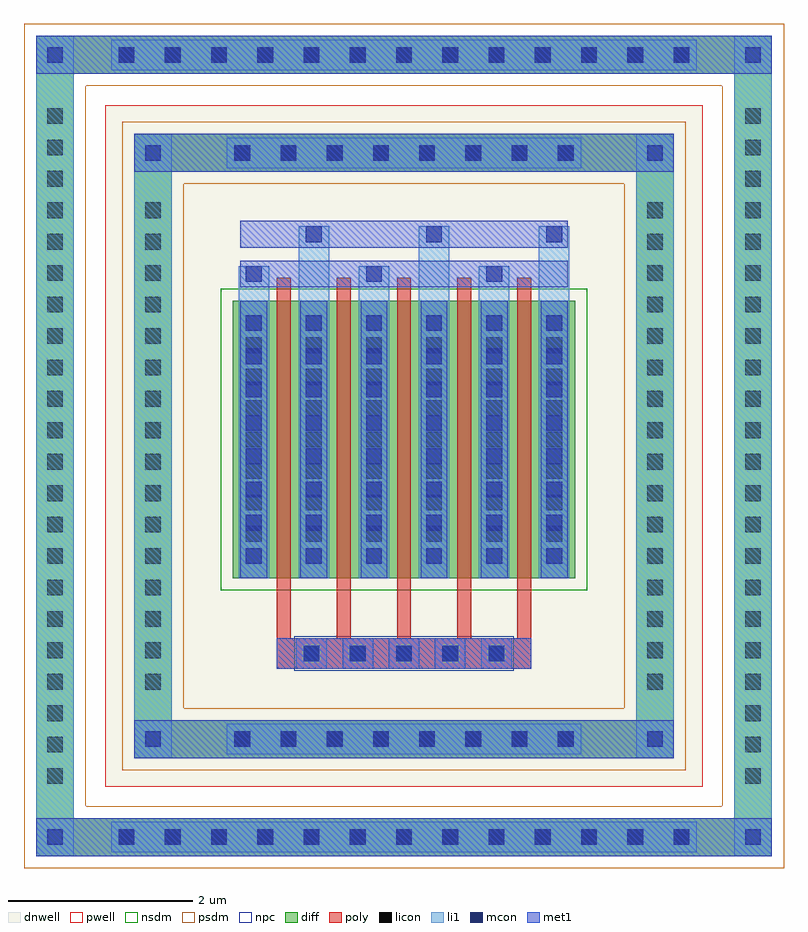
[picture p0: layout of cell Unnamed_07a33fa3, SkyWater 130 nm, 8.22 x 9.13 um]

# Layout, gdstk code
import gdstk
lib = gdstk.Library(unit=1e-6, precision=5e-09)
def R(c, l, rs):  # rectangles x0, y0, x1, y1
    for r in rs: c.add(gdstk.rectangle(r[:2], r[2:], *l))
def A(c, l, x, y, w, h, nx, ny, dx, dy):  # array of equal rectangles
    R(c, l, [(x+i*dx, y+j*dy, x+i*dx+w, y+j*dy+h) for i in range(nx) for j in range(ny)])
def P(c, l, *ps):  # polygons
    for p in ps: c.add(gdstk.Polygon(p, *l))
dnwell = (64, 18)
pwell = (64, 44)
diff = (65, 20)
poly = (66, 20)
licon = (66, 44)
li1 = (67, 20)
mcon = (67, 44)
met1 = (68, 20)
nsdm = (93, 44)
psdm = (94, 20)
npc = (95, 20)

unnamed_07a33fa3 = lib.new_cell('Unnamed_07a33fa3')
R(unnamed_07a33fa3, dnwell, [(-3.23,-3.685,3.23,3.685)])
R(unnamed_07a33fa3, pwell, [(-3.23,-3.685,3.23,3.685)])
A(unnamed_07a33fa3, diff, -3.205, -4.435, 0.41, 0.41, 13, 2, 0.5, 8.46)
A(unnamed_07a33fa3, diff, -3.98, -3.775, 0.41, 0.41, 1, 22, 0, 0.34)
A(unnamed_07a33fa3, diff, 3.57, -3.775, 0.41, 0.41, 1, 22, 0, 0.34)
A(unnamed_07a33fa3, diff, -1.955, -3.375, 0.41, 0.41, 8, 2, 0.5, 6.34)
A(unnamed_07a33fa3, diff, -2.92, -2.755, 0.41, 0.41, 1, 16, 0, 0.34)
A(unnamed_07a33fa3, diff, 2.51, -2.755, 0.41, 0.41, 1, 16, 0, 0.34)
R(unnamed_07a33fa3, diff, [(-3.205,-4.435,3.205,-4.025), (-3.98,-3.775,-3.57,3.775), (3.57,-3.775,3.98,3.775), (-1.955,-3.375,1.955,-2.965), (-2.92,-2.755,-2.51,2.755), (2.51,-2.755,2.92,2.755), (-1.85,-1.43,1.85,1.57), (-1.955,2.965,1.955,3.375), (-3.205,4.025,3.205,4.435)])
P(unnamed_07a33fa3, diff, [(3.98,4.435),(-3.98,4.435),(-3.98,-4.025),(-3.57,-4.025),(-3.57,4.025),(3.57,4.025),(3.57,-4.025),(-3.57,-4.025),(-3.98,-4.025),(-3.98,-4.435),(3.98,-4.435)],
  [(2.92,3.375),(-2.92,3.375),(-2.92,-2.965),(-2.51,-2.965),(-2.51,2.965),(2.51,2.965),(2.51,-2.965),(-2.51,-2.965),(-2.92,-2.965),(-2.92,-3.375),(2.92,-3.375)])
A(unnamed_07a33fa3, poly, -1.165, -2.41, 0.33, 0.33, 5, 1, 0.5, 0)
A(unnamed_07a33fa3, poly, -1.375, -2.08, 0.15, 0.4, 5, 1, 0.65, 0)
A(unnamed_07a33fa3, poly, -1.375, -1.68, 0.15, 3.5, 5, 1, 0.65, 0)
R(unnamed_07a33fa3, poly, [(-1.375,-2.41,1.375,-2.08)])
A(unnamed_07a33fa3, licon, -3.085, -4.315, 0.17, 0.17, 13, 2, 0.5, 8.46)
A(unnamed_07a33fa3, licon, -3.86, -3.655, 0.17, 0.17, 1, 22, 0, 0.34)
A(unnamed_07a33fa3, licon, 3.69, -3.655, 0.17, 0.17, 1, 22, 0, 0.34)
A(unnamed_07a33fa3, licon, -1.835, -3.255, 0.17, 0.17, 8, 2, 0.5, 6.34)
A(unnamed_07a33fa3, licon, -2.8, -2.635, 0.17, 0.17, 1, 16, 0, 0.34)
A(unnamed_07a33fa3, licon, 2.63, -2.635, 0.17, 0.17, 1, 16, 0, 0.34)
A(unnamed_07a33fa3, licon, -1.085, -2.33, 0.17, 0.17, 5, 1, 0.5, 0)
A(unnamed_07a33fa3, licon, -1.71, -1.035, 0.17, 0.17, 6, 7, 0.65, 0.34)
A(unnamed_07a33fa3, li1, -3.165, -4.395, 0.33, 0.33, 13, 2, 0.5, 8.46)
A(unnamed_07a33fa3, li1, -3.94, -3.735, 0.33, 0.33, 1, 22, 0, 0.34)
A(unnamed_07a33fa3, li1, 3.61, -3.735, 0.33, 0.33, 1, 22, 0, 0.34)
A(unnamed_07a33fa3, li1, -1.915, -3.335, 0.33, 0.33, 8, 2, 0.5, 6.34)
A(unnamed_07a33fa3, li1, -2.88, -2.715, 0.33, 0.33, 1, 16, 0, 0.34)
A(unnamed_07a33fa3, li1, 2.55, -2.715, 0.33, 0.33, 1, 16, 0, 0.34)
A(unnamed_07a33fa3, li1, -1.165, -2.41, 0.33, 0.33, 5, 1, 0.5, 0)
A(unnamed_07a33fa3, li1, -1.79, -1.43, 0.33, 3, 6, 1, 0.65, 0)
A(unnamed_07a33fa3, li1, -1.71, -1.275, 0.17, 0.17, 6, 8, 0.65, 0.36)
A(unnamed_07a33fa3, li1, -1.71, -1.275, 0.17, 2.69, 6, 1, 0.65, 0)
A(unnamed_07a33fa3, li1, -1.79, -1.115, 0.33, 0.33, 6, 7, 0.65, 0.34)
A(unnamed_07a33fa3, li1, -1.79, 1.57, 0.33, 0.375, 3, 1, 1.3, 0)
A(unnamed_07a33fa3, li1, -1.14, 1.57, 0.33, 0.805, 3, 1, 1.3, 0)
A(unnamed_07a33fa3, li1, -1.71, 1.775, 0.17, 0.17, 3, 1, 1.3, 0)
A(unnamed_07a33fa3, li1, -1.06, 2.205, 0.17, 0.17, 3, 1, 1.3, 0)
R(unnamed_07a33fa3, li1, [(-3.98,-4.435,-3.57,-4.025), (3.57,-4.435,3.98,-4.025), (-3.165,-4.395,3.165,-4.065), (-3.86,-4.315,-3.69,-4.145), (-3.86,-4.315,-3.69,-4.145), (3.69,-4.315,3.86,-4.145), (3.69,-4.315,3.86,-4.145), (-3.98,-4.025,-3.57,4.025), (3.57,-4.025,3.98,4.025), (-2.92,-3.375,-2.51,-2.965), (2.51,-3.375,2.92,-2.965), (-1.915,-3.335,1.915,-3.005), (-2.8,-3.255,-2.63,-3.085), (-2.8,-3.255,-2.63,-3.085), (2.63,-3.255,2.8,-3.085), (2.63,-3.255,2.8,-3.085), (-2.92,-2.965,-2.51,2.965), (2.51,-2.965,2.92,2.965), (-2.92,2.965,-2.51,3.375), (2.51,2.965,2.92,3.375), (-1.915,3.005,1.915,3.335), (-2.8,3.085,-2.63,3.255), (-2.8,3.085,-2.63,3.255), (2.63,3.085,2.8,3.255), (2.63,3.085,2.8,3.255), (-3.98,4.025,-3.57,4.435), (3.57,4.025,3.98,4.435), (-3.165,4.065,3.165,4.395), (-3.86,4.145,-3.69,4.315), (-3.86,4.145,-3.69,4.315), (3.69,4.145,3.86,4.315), (3.69,4.145,3.86,4.315)])
A(unnamed_07a33fa3, mcon, -3.085, -4.315, 0.17, 0.17, 13, 2, 0.5, 8.46)
A(unnamed_07a33fa3, mcon, -1.835, -3.255, 0.17, 0.17, 8, 2, 0.5, 6.34)
A(unnamed_07a33fa3, mcon, -1.085, -2.33, 0.17, 0.17, 5, 1, 0.5, 0)
A(unnamed_07a33fa3, mcon, -1.71, -1.275, 0.17, 0.17, 6, 8, 0.65, 0.36)
A(unnamed_07a33fa3, mcon, -1.71, 1.775, 0.17, 0.17, 3, 1, 1.3, 0)
A(unnamed_07a33fa3, mcon, -1.06, 2.205, 0.17, 0.17, 3, 1, 1.3, 0)
R(unnamed_07a33fa3, mcon, [(-3.86,-4.315,-3.69,-4.145), (3.69,-4.315,3.86,-4.145), (-2.8,-3.255,-2.63,-3.085), (2.63,-3.255,2.8,-3.085), (-2.8,3.085,-2.63,3.255), (2.63,3.085,2.8,3.255), (-3.86,4.145,-3.69,4.315), (3.69,4.145,3.86,4.315)])
A(unnamed_07a33fa3, met1, -3.145, -4.375, 0.29, 0.29, 13, 2, 0.5, 8.46)
A(unnamed_07a33fa3, met1, -1.895, -3.315, 0.29, 0.29, 8, 2, 0.5, 6.34)
A(unnamed_07a33fa3, met1, -1.145, -2.39, 0.29, 0.29, 5, 1, 0.5, 0)
A(unnamed_07a33fa3, met1, -1.77, -1.43, 0.29, 3, 6, 1, 0.65, 0)
A(unnamed_07a33fa3, met1, -1.77, -1.335, 0.29, 0.29, 6, 8, 0.65, 0.36)
A(unnamed_07a33fa3, met1, -1.77, 1.715, 0.29, 0.29, 3, 1, 1.3, 0)
A(unnamed_07a33fa3, met1, -1.12, 2.145, 0.29, 0.29, 3, 1, 1.3, 0)
R(unnamed_07a33fa3, met1, [(-3.98,-4.435,-3.57,-4.025), (-3.98,-4.435,-3.57,-4.025), (-3.57,-4.435,3.57,-4.025), (3.57,-4.435,3.98,-4.025), (3.57,-4.435,3.98,-4.025), (-3.92,-4.375,-3.63,-4.085), (3.63,-4.375,3.92,-4.085), (-2.92,-3.375,-2.51,-2.965), (-2.92,-3.375,-2.51,-2.965), (-2.51,-3.375,2.51,-2.965), (2.51,-3.375,2.92,-2.965), (2.51,-3.375,2.92,-2.965), (-2.86,-3.315,-2.57,-3.025), (2.57,-3.315,2.86,-3.025), (-1.375,-2.41,1.375,-2.08), (-1.77,1.715,1.77,2.005), (-1.77,2.145,1.77,2.435), (-2.92,2.965,-2.51,3.375), (-2.92,2.965,-2.51,3.375), (-2.51,2.965,2.51,3.375), (2.51,2.965,2.92,3.375), (2.51,2.965,2.92,3.375), (-2.86,3.025,-2.57,3.315), (2.57,3.025,2.86,3.315), (-3.98,4.025,-3.57,4.435), (-3.98,4.025,-3.57,4.435), (-3.57,4.025,3.57,4.435), (3.57,4.025,3.98,4.435), (3.57,4.025,3.98,4.435), (-3.92,4.085,-3.63,4.375), (3.63,4.085,3.92,4.375)])
R(unnamed_07a33fa3, nsdm, [(-1.98,-1.56,1.98,1.7)])
P(unnamed_07a33fa3, psdm, [(4.11,4.565),(-4.11,4.565),(-4.11,-3.895),(-3.44,-3.895),(-3.44,3.895),(3.44,3.895),(3.44,-3.895),(-3.44,-3.895),(-4.11,-3.895),(-4.11,-4.565),(4.11,-4.565)],
  [(3.05,3.505),(-3.05,3.505),(-3.05,-2.835),(-2.38,-2.835),(-2.38,2.835),(2.38,2.835),(2.38,-2.835),(-2.38,-2.835),(-3.05,-2.835),(-3.05,-3.505),(3.05,-3.505)])
A(unnamed_07a33fa3, npc, -1.185, -2.43, 0.37, 0.37, 5, 1, 0.5, 0)
R(unnamed_07a33fa3, npc, [(-1.185,-2.43,-0.315,-2.06), (-1.185,-2.43,-0.315,-2.06), (-0.685,-2.43,0.185,-2.06), (-0.685,-2.43,0.185,-2.06), (-0.185,-2.43,0.685,-2.06), (-0.185,-2.43,0.685,-2.06), (0.315,-2.43,1.185,-2.06), (0.315,-2.43,1.185,-2.06)])

lib.write_gds('Unnamed_07a33fa3.gds')
